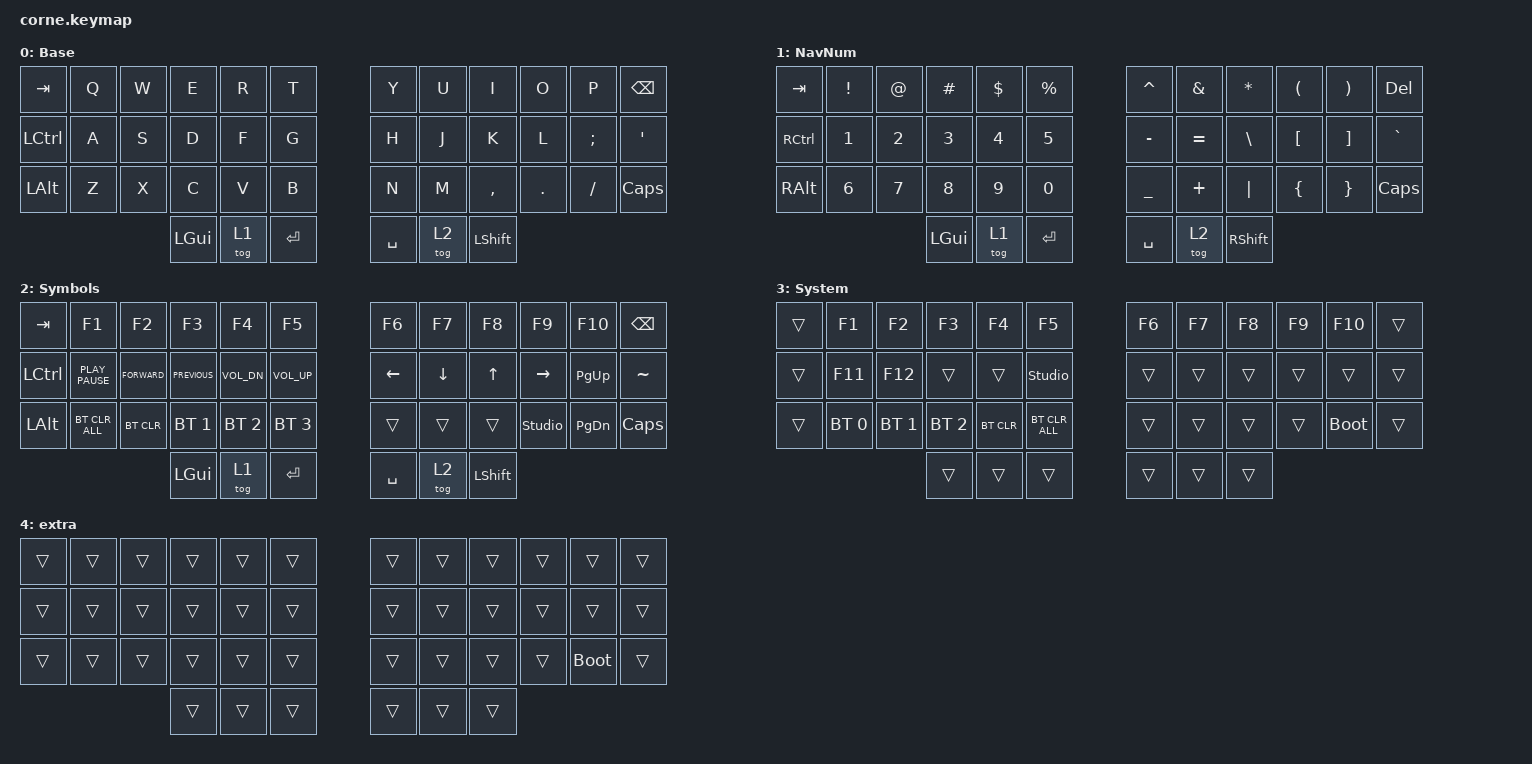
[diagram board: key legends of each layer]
#include <behaviors.dtsi>
#include <dt-bindings/zmk/bt.h>
#include <dt-bindings/zmk/keys.h>

#define DEF 0
#define NAV 1
#define SYM 2
#define ADJ 3
#define EXTRA 4

/ {
    behaviors {
        hm: homerow_mods {
            compatible = "zmk,behavior-hold-tap";
            label = "HOMEROW_MODS";
            #binding-cells = <2>;
            tapping-term-ms = <200>;
            quick_tap_ms = <0>;
            flavor = "tap-preferred";
            bindings = <&kp>, <&kp>;

            quick-tap-ms = <180>;
            global-quick-tap;
        };

        para: para {
            compatible = "zmk,behavior-tap-dance";
            label = "PARA";
            #binding-cells = <0>;
            bindings = <&kp LEFT_PARENTHESIS>, <&kp RIGHT_PARENTHESIS>;
        };

        caps: caps {
            compatible = "zmk,behavior-caps-word";
            label = "CAPS";
            #binding-cells = <0>;
            continue-list = <MINUS BACKSPACE>;
        };

        paraless: paraless {
            compatible = "zmk,behavior-mod-morph";
            label = "PARALESS";
            bindings = <&kp LEFT_PARENTHESIS>, <&kp LESS_THAN>;

            #binding-cells = <0>;
            mods = <(MOD_LSFT)>;
        };

        paragreat: paragreat {
            compatible = "zmk,behavior-mod-morph";
            label = "PARAGREAT";
            bindings = <&kp RIGHT_PARENTHESIS>, <&kp GREATER_THAN>;

            #binding-cells = <0>;
            mods = <(MOD_LSFT)>;
        };
    };

    macros {
        browsertab: browsertab {
            compatible = "zmk,behavior-macro";
            #binding-cells = <0>;
            bindings =
                <&macro_press>,
                <&kp LCTRL>,
                <&macro_tap>,
                <&kp TAB>,
                <&macro_release>,
                <&kp LCTRL>;
        };
    };

    combos {
        compatible = "zmk,combos";

        escape {
            bindings = <&kp ESCAPE>;
            key-positions = <13 29>;
        };

        delete {
            bindings = <&kp DELETE>;
            key-positions = <15 21>;
        };

        perc {
            bindings = <&kp PERCENT>;
            key-positions = <5 17>;
        };

        equal {
            bindings = <&kp EQUAL>;
            key-positions = <28 16>;
        };

        dollar {
            bindings = <&kp DOLLAR>;
            key-positions = <4 16>;
        };

        pound {
            bindings = <&kp POUND>;
            key-positions = <3 15>;
        };

        at {
            bindings = <&kp AT>;
            key-positions = <2 14>;
        };

        backslash {
            bindings = <&kp BACKSLASH>;
            key-positions = <26 14>;
        };

        copy {
            bindings = <&kp K_COPY>;
            key-positions = <28 27>;
        };

        paste {
            bindings = <&kp K_PASTE>;
            key-positions = <26 27>;
        };

        star {
            bindings = <&kp STAR>;
            key-positions = <8 20>;
        };

        slash {
            bindings = <&kp SLASH>;
            key-positions = <32 20>;
        };

        plus {
            bindings = <&kp PLUS>;
            key-positions = <7 19>;
        };

        minus {
            bindings = <&kp KP_MINUS>;
            key-positions = <31 19>;
        };

        underscore {
            bindings = <&kp UNDER>;
            key-positions = <30 18>;
        };

        leftbrack {
            bindings = <&kp LEFT_BRACKET>;
            key-positions = <31 32>;
        };

        rightbrack {
            bindings = <&kp RIGHT_BRACKET>;
            key-positions = <33 32>;
        };

        para-less {
            bindings = <&paraless>;
            key-positions = <20 19>;
        };

        para-great {
            bindings = <&paragreat>;
            key-positions = <20 21>;
        };
    };

    //

    keymap {
        compatible = "zmk,keymap";

        DEF {
            display-name = "Base";

            // -----------------------------------------------------------------------------------------
            // |  Q  |  W  |  E  |  R  |  T  |   |  Y  |  U   |  I  |  O  |  P  |
            // |  A  |  S  |  D  |  F  |  G  |   |  H  |  J   |  K  |  L  |  ;  |
            // |  Z  |  X  |  C  |  V  |  B  |   |  N  |  M   |  ,  |  .  |  /  |
            // | GUI | CTRL | SHFT | LWR | SPC |   | ENT | RSE  | BKSP | ALT | ESC |

            bindings = <
&kp TAB       &kp Q  &kp W  &kp E     &kp R   &kp T        &kp Y      &kp U   &kp I           &kp O    &kp P     &kp BACKSPACE
&kp LCTRL     &kp A  &kp S  &kp D     &kp F   &kp G        &kp H      &kp J   &kp K           &kp L    &kp SEMI  &kp SQT
&kp LEFT_ALT  &kp Z  &kp X  &kp C     &kp V   &kp B        &kp N      &kp M   &kp COMMA       &kp DOT  &kp FSLH  &kp CAPSLOCK
                            &kp LGUI  &tog 1  &kp ENTER    &kp SPACE  &tog 2  &kp LEFT_SHIFT
            >;
        };

        NAV {
            display-name = "NavNum";

            // -----------------------------------------------------------------------------------------
            // |  TAB |  1  |  2  |  3  |  4  |  5  |   |  6  |  7  |  8  |  9  |  0  | BKSP |
            // | BTCLR| BT1 | BT2 | BT3 | BT4 | BT5 |   | LFT | DWN |  UP | RGT |     |      |
            // | SHFT |     |     |     |     |     |   |     |     |     |     |     |      |
            // | GUI | CTRL | SHFT | LWR | SPC |   | ENT | RSE  | BKSP | ALT | ESC |

            bindings = <
&kp TAB        &kp EXCLAMATION  &kp AT_SIGN   &kp HASH      &kp DOLLAR    &kp PERCENT     &kp CARET       &kp AMPERSAND  &kp ASTERISK     &kp LEFT_PARENTHESIS  &kp RIGHT_PARENTHESIS  &kp DELETE
&kp RCTRL      &kp NUMBER_1     &kp NUMBER_2  &kp NUMBER_3  &kp NUMBER_4  &kp NUMBER_5    &kp MINUS       &kp EQUAL      &kp BACKSLASH    &kp LEFT_BRACKET      &kp RIGHT_BRACKET      &kp GRAVE
&kp RIGHT_ALT  &kp NUMBER_6     &kp NUMBER_7  &kp NUMBER_8  &kp NUMBER_9  &kp NUMBER_0    &kp UNDERSCORE  &kp PLUS       &kp PIPE         &kp LEFT_BRACE        &kp RIGHT_BRACE        &kp CAPSLOCK
                                              &kp LGUI      &tog 1        &kp ENTER       &kp SPACE       &tog 2         &kp RIGHT_SHIFT
            >;
        };

        SYM {
            display-name = "Symbols";

            // -----------------------------------------------------------------------------------------
            // |  TAB |  !  |  @  |  #  |  $  |  %  |   |  ^  |  &  |  *  |  (  |  )  | BKSP |
            // | CTRL |     |     |     |     |     |   |  -  |  =  |  [  |  ]  |  \  |  `   |
            // | SHFT |     |     |     |     |     |   |  _  |  +  |  {  |  }  | "|" |  ~   |
            //                    | GUI |     | SPC |   | ENT |     | ALT |

            bindings = <
&kp TAB       &kp F1            &kp F2         &kp F3          &kp F4        &kp F5             &kp F6          &kp F7    &kp F8          &kp F9          &kp F10    &kp BACKSPACE
&kp LCTRL     &kp K_PLAY_PAUSE  &kp K_FORWARD  &kp K_PREVIOUS  &kp C_VOL_DN  &kp C_VOLUME_UP    &kp LEFT_ARROW  &kp DOWN  &kp UP_ARROW    &kp RIGHT       &kp PG_UP  &kp TILDE
&kp LEFT_ALT  &bt BT_CLR_ALL    &bt BT_CLR     &bt BT_SEL 1    &bt BT_SEL 2  &bt BT_SEL 3       &trans          &trans    &trans          &studio_unlock  &kp PG_DN  &kp CAPSLOCK
                                               &kp LGUI        &tog 1        &kp RET            &kp SPACE       &tog 2    &kp LEFT_SHIFT
            >;
        };

        ADJ {
            display-name = "System";
            bindings = <
&trans  &kp F1        &kp F2        &kp F3        &kp F4      &kp F5            &kp F6  &kp F7  &kp F8  &kp F9  &kp F10      &trans
&trans  &kp F11       &kp F12       &trans        &trans      &studio_unlock    &trans  &trans  &trans  &trans  &trans       &trans
&trans  &bt BT_SEL 0  &bt BT_SEL 1  &bt BT_SEL 2  &bt BT_CLR  &bt BT_CLR_ALL    &trans  &trans  &trans  &trans  &bootloader  &trans
                                    &trans        &trans      &trans            &trans  &trans  &trans
            >;
        };

        EXTRA {
            display-name = "extra";
            bindings = <
&trans  &trans  &trans  &trans  &trans  &trans    &trans  &trans  &trans  &trans  &trans       &trans
&trans  &trans  &trans  &trans  &trans  &trans    &trans  &trans  &trans  &trans  &trans       &trans
&trans  &trans  &trans  &trans  &trans  &trans    &trans  &trans  &trans  &trans  &bootloader  &trans
                        &trans  &trans  &trans    &trans  &trans  &trans
            >;
        };
    };

    conditional_layers {
        compatible = "zmk,conditional-layers";

        l3 {
            if-layers = <1 2>;
            then-layer = <3>;
        };
    };
};
